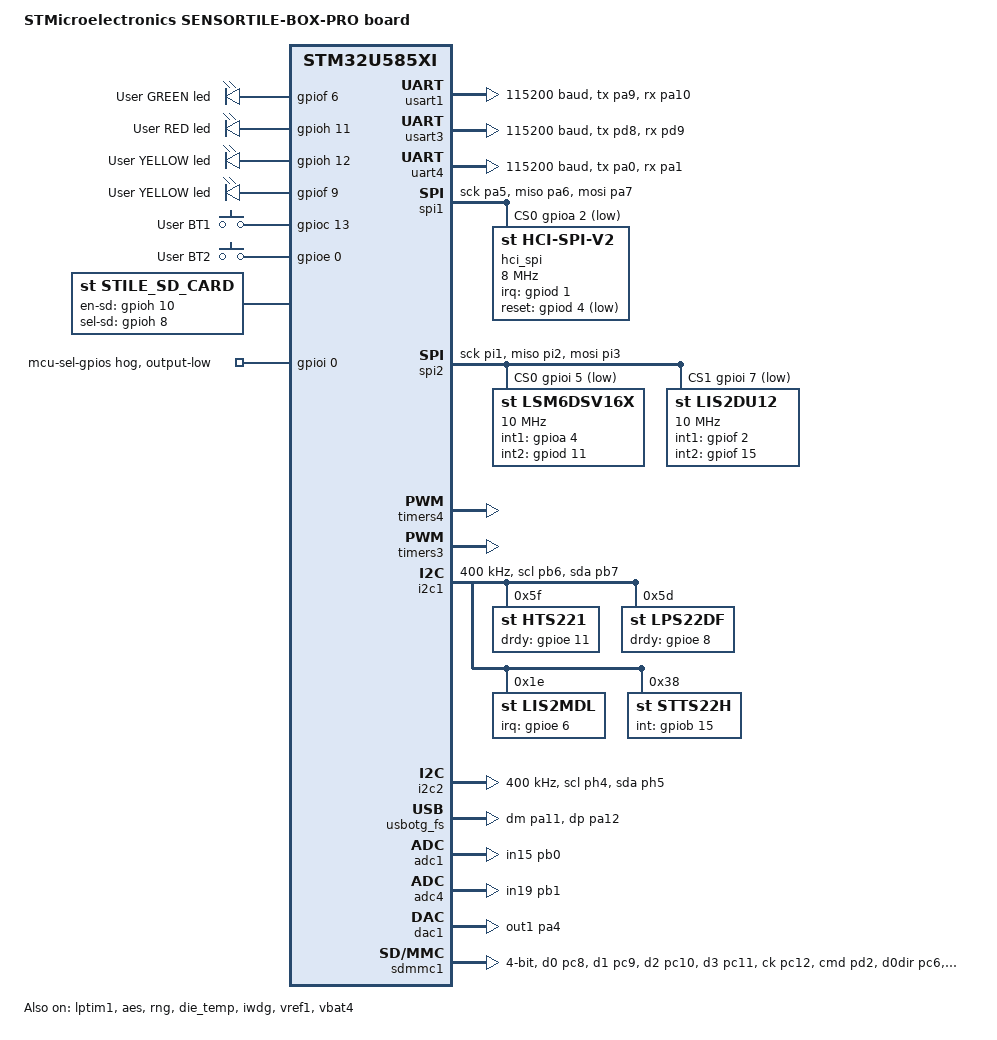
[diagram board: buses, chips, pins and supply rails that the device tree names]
/*
 * Copyright (c) 2023 STMicroelectronics
 *
 * SPDX-License-Identifier: Apache-2.0
 */

/dts-v1/;
#include <st/u5/stm32u585Xi.dtsi>
#include <st/u5/stm32u585aiixq-pinctrl.dtsi>
#include <zephyr/dt-bindings/input/input-event-codes.h>

/ {
	model = "STMicroelectronics SENSORTILE-BOX-PRO board";
	compatible = "st,sensortile-box-pro";

	chosen {
		/*
		 * By default, Zephyr console and shell are assigned to
		 * USB CDC/ACM. To enable console and shell over UART,
		 * uncomment following lines and set the correct config
		 * in sensortile_box_pro_defconfig.
		 *
		 * zephyr,console = &uart4;
		 * zephyr,shell-uart = &uart4;
		 */
		zephyr,console = &cdc_acm_uart0;
		zephyr,shell-uart = &cdc_acm_uart0;
		zephyr,bt-c2h-uart = &cdc_acm_uart0;
		zephyr,sram = &sram0;
		zephyr,flash = &flash0;
		zephyr,code-partition = &slot0_partition;
		zephyr,bt-hci = &hci_spi;
	};

	leds {
		compatible = "gpio-leds";
		green_led_1: led_1 {
			gpios = <&gpiof 6 GPIO_ACTIVE_HIGH>;
			label = "User GREEN led";
		};
		red_led_1: led_2 {
			gpios = <&gpioh 11 GPIO_ACTIVE_HIGH>;
			label = "User RED led";
		};
		yellow_led_1: led_3 {
			gpios = <&gpioh 12 GPIO_ACTIVE_HIGH>;
			label = "User YELLOW led";
		};
		blue_led_1: led_4 {
			gpios = <&gpiof 9 GPIO_ACTIVE_HIGH>;
			label = "User YELLOW led";
		};
	};

	gpio_keys {
		compatible = "gpio-keys";
		button1: button1 {
			label = "User BT1";
			gpios = <&gpioc 13 GPIO_ACTIVE_HIGH>;
			zephyr,code = <INPUT_KEY_0>;
		};
		button2: button2 {
			label = "User BT2";
			gpios = <&gpioe 0 GPIO_ACTIVE_HIGH>;
			zephyr,code = <INPUT_KEY_1>;
		};
	};

	sd_card: sd-card {
		compatible = "st,stile_sd_card";
		en-sd-gpios = <&gpioh 10 (GPIO_ACTIVE_HIGH)>;
		sel-sd-gpios = <&gpioh 8 (GPIO_ACTIVE_HIGH)>;
	};

	aliases {
		led0 = &green_led_1;
		led1 = &red_led_1;
		led2 = &yellow_led_1;
		led3 = &blue_led_1;
		mcuboot-led0 = &blue_led_1;
		mcuboot-button0 = &button1;
		sw1 = &button1;
		sw2 = &button2;
		watchdog0 = &iwdg;
		die-temp0 = &die_temp;
		volt-sensor0 = &vref1;
		volt-sensor1 = &vbat4;
	};
};

&clk_hsi48 {
	status = "okay";
};

&clk_lse {
	status = "okay";
};

&clk_msis {
	status = "okay";
	msi-range = <4>;
	msi-pll-mode;
};

&gpioi {
	status = "okay";

	/* switch sensor IMU bus from I2C1 to SPI2 */
	mcu-sel-gpios {
		gpio-hog;
		gpios = <0 GPIO_ACTIVE_HIGH>;
		output-low;
	};
};

&pll1 {
	div-m = <1>;
	mul-n = <80>;
	div-q = <2>;
	div-r = <2>;
	clocks = <&clk_msis>;
	status = "okay";
};

&rcc {
	clocks = <&pll1>;
	clock-frequency = <DT_FREQ_M(160)>;
	ahb-prescaler = <1>;
	apb1-prescaler = <1>;
	apb2-prescaler = <1>;
	apb3-prescaler = <1>;
};

stm32_lp_tick_source: &lptim1 {
	clocks = <&rcc STM32_CLOCK_BUS_APB3 0x00000800>,
		 <&rcc STM32_SRC_LSE LPTIM1_SEL(3)>;
	status = "okay";
};

&usart1 {
	pinctrl-0 = <&usart1_tx_pa9 &usart1_rx_pa10>;
	pinctrl-names = "default";
	current-speed = <115200>;
	status = "okay";
};

&usart3 {
	pinctrl-0 = <&usart3_tx_pd8 &usart3_rx_pd9>;
	pinctrl-names = "default";
	current-speed = <115200>;
	status = "okay";
};

&uart4 {
	pinctrl-0 = <&uart4_tx_pa0 &uart4_rx_pa1>;
	pinctrl-names = "default";
	current-speed = <115200>;
	status = "okay";
};

&spi1 {
	pinctrl-0 = <&spi1_sck_pa5 &spi1_miso_pa6 &spi1_mosi_pa7>;
	pinctrl-names = "default";
	cs-gpios = <&gpioa 2 GPIO_ACTIVE_LOW>;
	status = "okay";

	hci_spi: bluenrg-lp@0 {
		compatible = "st,hci-spi-v2";
		reg = <0>;
		irq-gpios = <&gpiod 1 (GPIO_ACTIVE_HIGH | GPIO_PULL_DOWN)>;
		reset-gpios = <&gpiod 4 GPIO_ACTIVE_LOW>;
		spi-cpol;
		spi-cpha;
		spi-hold-cs;
		spi-max-frequency = <DT_FREQ_M(8)>;
		controller-data-delay-us = <0>;
		reset-assert-duration-ms = <6>;
	};
};

&spi1_sck_pa5 {
	/delete-property/ bias-pull-down;
	bias-pull-up; /* Idle state for the clock pin is high-level due to SPI mode 3 */
};

&spi2 {
	pinctrl-0 = <&spi2_sck_pi1 &spi2_miso_pi2 &spi2_mosi_pi3>;
	pinctrl-names = "default";
	status = "okay";

	cs-gpios = <&gpioi 5 GPIO_ACTIVE_LOW>, <&gpioi 7 GPIO_ACTIVE_LOW>;

	lsm6dsv16x: lsm6dsv16x@0 {
		compatible = "st,lsm6dsv16x";
		spi-max-frequency = <DT_FREQ_M(10)>;
		reg = <0>;
		int1-gpios = <&gpioa 4 GPIO_ACTIVE_HIGH>;
		int2-gpios = <&gpiod 11 GPIO_ACTIVE_HIGH>;

		drdy-pin = <2>;
	};

	lis2du12: lis2du12@1 {
		compatible = "st,lis2du12";
		spi-max-frequency = <DT_FREQ_M(10)>;
		reg = <1>;
		int1-gpios = <&gpiof 2 GPIO_ACTIVE_HIGH>;
		int2-gpios = <&gpiof 15 GPIO_ACTIVE_HIGH>;

		drdy-pin = <1>;
	};
};

&timers4 {
	status = "okay";
	st,prescaler = <1>;
	pwm4: pwm {
		status = "okay";
		pinctrl-0 = <&tim4_ch1_pb6>;
		pinctrl-names = "default";
	};
};

&timers3 {
	status = "okay";
	st,prescaler = <255>;
	pwm3: pwm {
		status = "okay";
		pinctrl-0 = <&tim3_ch2_pe4>;
		pinctrl-names = "default";
	};
};

&i2c1 {
	pinctrl-0 = <&i2c1_scl_pb6 &i2c1_sda_pb7>;
	pinctrl-names = "default";
	status = "okay";
	clock-frequency = <I2C_BITRATE_FAST>;

	hts221@5f {
		compatible = "st,hts221";
		reg = <0x5f>;
		drdy-gpios = <&gpioe 11 GPIO_ACTIVE_HIGH>;
		status = "okay";
	};

	lps22df@5d {
		compatible = "st,lps22df";
		reg = <0x5d>;
		drdy-gpios = <&gpioe 8 GPIO_ACTIVE_HIGH>;
		status = "okay";
	};

	lis2mdl@1e {
		compatible = "st,lis2mdl";
		reg = <0x1e>;
		irq-gpios = <&gpioe 6 GPIO_ACTIVE_HIGH>;
		status = "okay";
	};

	stts22h@38 {
		compatible = "st,stts22h";
		reg = <0x38>;
		int-gpios = <&gpiob 15 GPIO_ACTIVE_HIGH>;
		status = "okay";
	};
};

&i2c2 {
	pinctrl-0 = <&i2c2_scl_ph4 &i2c2_sda_ph5>;
	pinctrl-names = "default";
	status = "okay";
	clock-frequency = <I2C_BITRATE_FAST>;
};

&aes {
	status = "okay";
};

&rng {
	status = "okay";
};

zephyr_udc0: &usbotg_fs {
	pinctrl-0 = <&usb_otg_fs_dm_pa11 &usb_otg_fs_dp_pa12>;
	pinctrl-names = "default";
	status = "okay";

	cdc_acm_uart0: cdc_acm_uart0 {
		compatible = "zephyr,cdc-acm-uart";
	};
};

&adc1 {
	pinctrl-0 = <&adc1_in15_pb0>;
	pinctrl-names = "default";
	st,adc-clock-source = <ASYNC>;
	st,adc-prescaler = <4>;
	status = "okay";
};

&adc4 {
	pinctrl-0 = <&adc4_in19_pb1>;
	pinctrl-names = "default";
	st,adc-clock-source = <ASYNC>;
	st,adc-prescaler = <4>;
	status = "okay";
};

&die_temp {
	status = "okay";
};

&dac1 {
	pinctrl-0 = <&dac1_out1_pa4>;
	pinctrl-names = "default";
	status = "okay";
};

&iwdg {
	status = "okay";
};

&vref1 {
	status = "okay";
};

&vbat4 {
	status = "okay";
};

&sdmmc1 {
	status = "okay";
	pinctrl-0 = <&sdmmc1_d0_pc8 &sdmmc1_d1_pc9
		     &sdmmc1_d2_pc10 &sdmmc1_d3_pc11
		     &sdmmc1_ck_pc12 &sdmmc1_cmd_pd2
		     &sdmmc1_d0dir_pc6 &sdmmc1_d123dir_pc7
		     &sdmmc1_cdir_pb9 &sdmmc1_ckin_pb8>;
	pinctrl-names = "default";
	cd-gpios = <&gpioc 5 GPIO_ACTIVE_LOW>;
	pwr-gpios = <&gpioh 10 GPIO_ACTIVE_LOW>;
	bus-width = <4>;
	clk-div = <4>;
};

&flash0 {
	partitions {
		compatible = "fixed-partitions";
		#address-cells = <1>;
		#size-cells = <1>;

		/*
		 * Following flash partition is dedicated to the use of sensortile_box_pro
		 * with TZEN=0 (so w/o TFM).
		 * Set the partitions with first MB to make use of the whole Bank1
		 */
		boot_partition: partition@0 {
			label = "mcuboot";
			reg = <0x00000000 DT_SIZE_K(64)>;
		};
		slot0_partition: partition@10000 {
			label = "image-0";
			reg = <0x00010000 DT_SIZE_K(416)>;
		};
		slot1_partition: partition@78000 {
			label = "image-1";
			reg = <0x00078000 DT_SIZE_K(416)>;
		};
		scratch_partition: partition@e0000 {
			label = "image-scratch";
			reg = <0x000e0000 DT_SIZE_K(64)>;
		};
		storage_partition: partition@f0000 {
			label = "storage";
			reg = <0x000f0000 DT_SIZE_K(64)>;
		};

	};
};

&gpdma1 {
	status = "okay";
};
